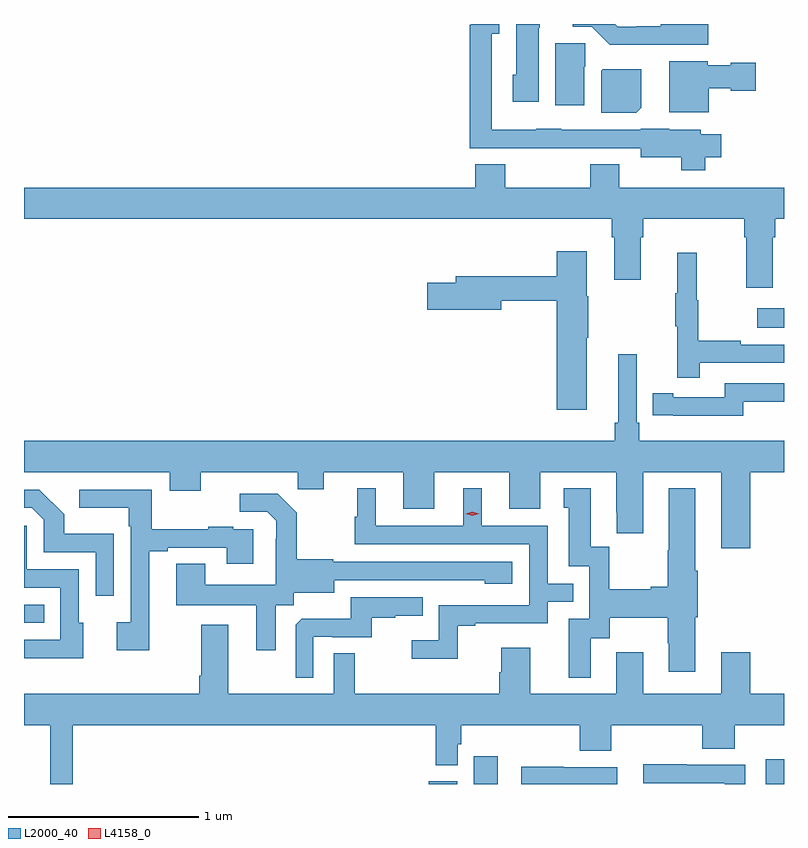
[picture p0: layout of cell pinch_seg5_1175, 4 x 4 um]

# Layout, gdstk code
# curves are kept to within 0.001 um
import gdstk
lib = gdstk.Library(unit=1e-6, precision=1e-09)
def R(c, l, rs):  # rectangles x0, y0, x1, y1
    for r in rs: c.add(gdstk.rectangle(r[:2], r[2:], *l))
def P(c, l, *ps):  # polygons
    for p in ps: c.add(gdstk.Polygon(p, *l))
L2000_40 = (2000, 40)
L4158_0 = (4158, 0)

pinch_seg5_1175 = lib.new_cell('pinch_seg5_1175')
R(pinch_seg5_1175, L2000_40, [(553.844,891.082,553.993,891.097), (554.08,891.082,554.206,891.229), (555.617,891.082,555.713,891.211), (551.713,891.93,551.819,892.026), (555.573,893.483,555.713,893.587)])
P(pinch_seg5_1175, L2000_40, [(555.299,894.38),(555.382,894.38),(555.382,894.502),(555.276,894.502),(555.276,894.526),(555.108,894.526),(555.108,894.532),(554.958,894.532),(554.958,894.525),(554.541,894.525),(554.541,894.532),(554.409,894.532),(554.409,894.526),(554.175,894.526),(554.175,895.031),(554.215,895.031),(554.215,895.082),(554.067,895.082),(554.067,895.079),(554.059,895.079),(554.059,894.429),(554.309,894.429),(554.309,894.428),(554.541,894.428),(554.541,894.429),(554.958,894.429),(554.958,894.38),(555.171,894.38),(555.171,894.311),(555.299,894.311)],
  [(554.422,895.062),(554.428,895.062),(554.428,895.082),(554.303,895.082),(554.303,894.816),(554.285,894.816),(554.285,894.672),(554.422,894.672)],
  [(555.314,895.082),(555.065,895.082),(555.065,895.071),(554.938,895.071),(554.938,895.068),(554.838,895.068),(554.824,895.082),(554.601,895.082),(554.601,895.068),(554.7,895.068),(554.795,894.974),(555.314,894.974)],
  [(554.662,894.858),(554.666,894.858),(554.666,894.981),(554.51,894.981),(554.51,894.654),(554.662,894.654)],
  [(555.316,894.743),(555.432,894.743),(555.432,894.731),(555.565,894.731),(555.565,894.878),(555.432,894.878),(555.432,894.865),(555.312,894.865),(555.312,894.886),(555.11,894.886),(555.11,894.617),(555.316,894.617)],
  [(554.962,894.64),(554.962,894.844),(554.758,894.844),(554.75,894.836),(554.75,894.614),(554.936,894.614)],
  [(555.655,893.96),(555.668,893.96),(555.668,894.056),(555.713,894.056),(555.713,894.22),(554.847,894.22),(554.847,894.344),(554.692,894.344),(554.692,894.22),(554.247,894.22),(554.247,894.344),(554.087,894.344),(554.087,894.22),(551.713,894.22),(551.713,894.056),(554.807,894.056),(554.807,893.96),(554.819,893.96),(554.819,893.736),(554.959,893.736),(554.959,893.96),(554.972,893.96),(554.972,894.056),(555.503,894.056),(555.503,893.96),(555.515,893.96),(555.515,893.694),(555.655,893.694)],
  [(554.674,893.431),(554.682,893.431),(554.682,893.649),(554.674,893.649),(554.674,893.887),(554.516,893.887),(554.516,893.755),(553.985,893.755),(553.985,893.721),(553.836,893.721),(553.836,893.579),(554.224,893.579),(554.224,893.626),(554.516,893.626),(554.516,893.052),(554.674,893.052)],
  [(555.269,893.298),(555.713,893.298),(555.713,893.394),(555.485,893.394),(555.485,893.414),(555.262,893.414),(555.262,893.628),(555.254,893.628),(555.254,893.878),(555.152,893.878),(555.152,893.665),(555.141,893.665),(555.141,893.491),(555.152,893.491),(555.152,893.22),(555.269,893.22)],
  [(555.536,892.724),(555.713,892.724),(555.713,892.888),(554.951,892.888),(554.951,892.984),(554.937,892.984),(554.937,893.344),(554.84,893.344),(554.84,892.984),(554.821,892.984),(554.821,892.888),(551.713,892.888),(551.713,892.724),(552.479,892.724),(552.479,892.625),(552.643,892.625),(552.643,892.724),(553.153,892.724),(553.153,892.634),(553.291,892.634),(553.291,892.724),(553.709,892.724),(553.709,892.53),(553.873,892.53),(553.873,892.724),(554.267,892.724),(554.267,892.53),(554.431,892.53),(554.431,892.724),(554.831,892.724),(554.831,892.513),(554.834,892.513),(554.834,892.401),(554.971,892.401),(554.971,892.724),(555.383,892.724),(555.383,892.323),(555.536,892.323)],
  [(555.498,893.094),(555.713,893.094),(555.713,893.19),(555.402,893.19),(555.402,893.118),(555.13,893.118),(555.13,893.138),(555.022,893.138),(555.022,893.022),(555.13,893.022),(555.13,893.021),(555.498,893.021)],
  [(553.995,891.915),(554.089,891.915),(554.089,891.927),(554.469,891.927),(554.469,892.041),(554.603,892.041),(554.603,892.137),(554.469,892.137),(554.469,892.44),(554.122,892.44),(554.122,892.639),(554.024,892.639),(554.024,892.44),(553.564,892.44),(553.564,892.639),(553.466,892.639),(553.466,892.488),(553.455,892.488),(553.455,892.344),(554.373,892.344),(554.373,892.023),(553.896,892.023),(553.896,891.838),(553.755,891.838),(553.755,891.74),(553.995,891.74)],
  [(554.695,891.85),(554.797,891.85),(554.797,891.956),(555.1,891.956),(555.1,891.822),(555.107,891.822),(555.107,891.672),(555.247,891.672),(555.247,891.96),(555.26,891.96),(555.26,892.204),(555.247,892.204),(555.247,892.639),(555.107,892.639),(555.107,892.313),(555.1,892.313),(555.1,892.121),(555.011,892.121),(555.011,892.108),(554.793,892.108),(554.793,892.331),(554.695,892.331),(554.695,892.639),(554.555,892.639),(554.555,892.536),(554.579,892.536),(554.579,892.227),(554.688,892.227),(554.688,891.951),(554.579,891.951),(554.579,891.642),(554.695,891.642)],
  [(552.186,892.399),(551.925,892.399),(551.925,892.502),(551.794,892.632),(551.713,892.632),(551.713,892.536),(551.754,892.536),(551.817,892.473),(551.817,892.302),(552.09,892.302),(552.09,892.074),(552.186,892.074)],
  [(552.373,892.308),(552.469,892.308),(552.469,892.326),(552.779,892.326),(552.779,892.242),(552.919,892.242),(552.919,892.422),(552.815,892.422),(552.815,892.435),(552.683,892.435),(552.683,892.424),(552.385,892.424),(552.385,892.632),(552.003,892.632),(552.003,892.535),(552.264,892.535),(552.264,892.439),(552.276,892.439),(552.276,891.934),(552.201,891.934),(552.201,891.786),(552.373,891.786)],
  [(553.039,892.024),(553.134,892.024),(553.134,892.088),(553.345,892.088),(553.345,892.155),(554.139,892.154),(554.139,892.136),(554.284,892.136),(554.284,892.251),(553.341,892.251),(553.341,892.264),(553.149,892.264),(553.149,892.509),(553.049,892.609),(552.849,892.609),(552.849,892.515),(552.993,892.515),(553.04,892.468),(553.04,892.373),(553.038,892.373),(553.038,892.132),(552.667,892.132),(552.667,892.241),(552.515,892.241),(552.515,892.022),(552.935,892.022),(552.935,891.786),(553.039,891.786)],
  [(552.025,891.93),(552,891.93),(552,892.212),(551.727,892.212),(551.727,892.441),(551.713,892.441),(551.713,892.116),(551.904,892.116),(551.904,891.84),(551.713,891.84),(551.713,891.744),(551.807,891.744),(551.807,891.743),(552.025,891.743)],
  [(553.236,891.858),(553.336,891.858),(553.336,891.855),(553.544,891.855),(553.544,891.957),(553.667,891.957),(553.667,891.968),(553.811,891.968),(553.811,892.065),(553.434,892.065),(553.434,891.953),(553.175,891.953),(553.143,891.921),(553.143,891.641),(553.236,891.641)],
  [(551.969,891.392),(553.879,891.392),(553.879,891.182),(553.995,891.182),(553.995,891.291),(554.015,891.291),(554.015,891.392),(554.639,891.392),(554.639,891.256),(554.804,891.256),(554.804,891.392),(555.284,891.392),(555.284,891.268),(555.455,891.268),(555.455,891.392),(555.713,891.392),(555.713,891.556),(555.536,891.556),(555.536,891.775),(555.383,891.775),(555.383,891.556),(554.971,891.556),(554.971,891.775),(554.831,891.775),(554.831,891.556),(554.377,891.556),(554.377,891.799),(554.225,891.799),(554.225,891.669),(554.213,891.669),(554.213,891.556),(553.453,891.556),(553.453,891.77),(553.344,891.77),(553.344,891.556),(552.787,891.556),(552.787,891.919),(552.647,891.919),(552.647,891.652),(552.635,891.652),(552.635,891.556),(551.713,891.556),(551.713,891.392),(551.852,891.392),(551.852,891.082),(551.969,891.082)],
  [(555.51,891.183),(555.2,891.183),(555.2,891.185),(554.973,891.185),(554.973,891.087),(555.213,891.087),(555.213,891.086),(555.402,891.086),(555.402,891.082),(555.51,891.082)],
  [(554.836,891.171),(554.555,891.171),(554.555,891.174),(554.331,891.174),(554.331,891.082),(554.836,891.082)])
P(pinch_seg5_1175, L4158_0, [(554.073,892.494),(554.038,892.504),(554.037,892.504),(554.038,892.504),(554.073,892.514),(554.108,892.504),(554.109,892.504),(554.108,892.504)])

lib.write_gds('pinch_seg5_1175.gds')
